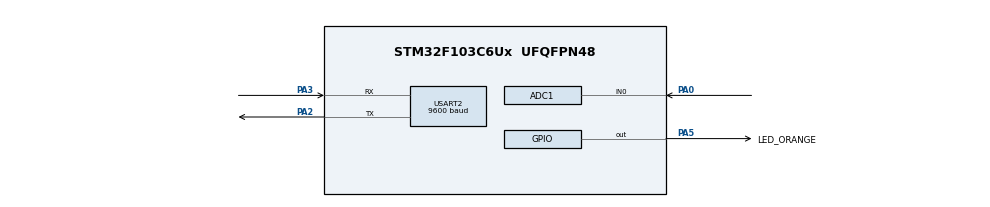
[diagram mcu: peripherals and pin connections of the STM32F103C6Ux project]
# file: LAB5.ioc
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ADC1.Channel-0\#ChannelRegularConversion=ADC_CHANNEL_0
ADC1.ContinuousConvMode=ENABLE
ADC1.NbrOfConversionFlag=1
ADC1.Rank-0\#ChannelRegularConversion=1
ADC1.SamplingTime-0\#ChannelRegularConversion=ADC_SAMPLETIME_1CYCLE_5
ADC1.master=1
Mcu.Family=STM32F1
Mcu.Name=STM32F103C6Ux
Mcu.Package=UFQFPN48
NVIC.PriorityGroup=NVIC_PRIORITYGROUP_4
NVIC.USART2_IRQn=true\:0\:0\:false\:false\:true\:true\:true
PA0-WKUP.Signal=ADCx_IN0
PA2.Mode=Asynchronous
PA2.Signal=USART2_TX
PA3.Mode=Asynchronous
PA3.Signal=USART2_RX
PA5.GPIO_Label=LED_ORANGE
PA5.Signal=GPIO_Output
ProjectManager.HeapSize=0x200
ProjectManager.StackSize=0x400
ProjectManager.TargetToolchain=STM32CubeIDE
RCC.APB1Freq_Value=8000000
RCC.APB2Freq_Value=8000000
SH.ADCx_IN0.0=ADC1_IN0,IN0
USART2.BaudRate=9600
USART2.VirtualMode=VM_ASYNC
VP_SYS_VS_ND.Mode=No_Debug
board=custom

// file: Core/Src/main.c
/* USER CODE BEGIN Header */
/**
  ******************************************************************************
  * @file           : main.c
  * @brief          : Main program body
  ******************************************************************************
  * @attention
  *
  * <h2><center>&copy; Copyright (c) 2025 STMicroelectronics.
  * All rights reserved.</center></h2>
  *
  * This software component is licensed by ST under BSD 3-Clause license,
  * the "License"; You may not use this file except in compliance with the
  * License. You may obtain a copy of the License at:
  *                        opensource.org/licenses/BSD-3-Clause
  *
  ******************************************************************************
  */
/* USER CODE END Header */
#include "main.h"

/* USER CODE BEGIN Includes */
#include "stdio.h"
#include "string.h"
#include "command_parser.h"
#include "uart.h"

/* USER CODE END Includes */

ADC_HandleTypeDef hadc1;

UART_HandleTypeDef huart2;

void SystemClock_Config(void);
static void MX_GPIO_Init(void);
static void MX_ADC1_Init(void);
static void MX_USART2_UART_Init(void);

/* USER CODE BEGIN 0 */
// uint8_t temp = 0;
void HAL_UART_RxCpltCallback(UART_HandleTypeDef *huart)
{
  if(huart->Instance == USART2){
    buffer[buf_write_idx++] = temp;
    if(buf_write_idx >= MAX_BUFFER_SIZE){
      buf_write_idx = 0;
    }
    buf_flag = 1;
    HAL_UART_Receive_IT(&huart2, &temp, 1);
  }
}
/* USER CODE END 0 */

int main(void)
{

  /* MCU Configuration--------------------------------------------------------*/

  /* Reset of all peripherals, Initializes the Flash interface and the Systick. */
  HAL_Init();

  /* Configure the system clock */
  SystemClock_Config();

  /* Initialize all configured peripherals */
  MX_GPIO_Init();
  MX_ADC1_Init();
  MX_USART2_UART_Init();
  /* USER CODE BEGIN 2 */
  command_parser_init();
  uart_init(&hadc1, &huart2);
  HAL_UART_Receive_IT(&huart2, &temp, 1);

  // uint32_t adc_value = 0;

  // HAL_ADC_Start(&hadc1);
  /* USER CODE END 2 */

  /* Infinite loop */
  while (1)
  {
    if(buf_flag == 1){
      command_parser_fsm();

      if(buf_read_idx == buf_write_idx){
        buf_flag = 0;
      }
    }
    /* USER CODE BEGIN 3 */
    uart_fsm();
  }

  /* USER CODE END 3 */
}

void SystemClock_Config(void)
{
  RCC_OscInitTypeDef RCC_OscInitStruct = {0};
  RCC_ClkInitTypeDef RCC_ClkInitStruct = {0};
  RCC_PeriphCLKInitTypeDef PeriphClkInit = {0};

  /** Initializes the RCC Oscillators according to the specified parameters
  * in the RCC_OscInitTypeDef structure.
  */
  RCC_OscInitStruct.OscillatorType = RCC_OSCILLATORTYPE_HSI;
  RCC_OscInitStruct.HSIState = RCC_HSI_ON;
  RCC_OscInitStruct.HSICalibrationValue = RCC_HSICALIBRATION_DEFAULT;
  RCC_OscInitStruct.PLL.PLLState = RCC_PLL_NONE;
  if (HAL_RCC_OscConfig(&RCC_OscInitStruct) != HAL_OK)
  {
    Error_Handler();
  }
  /** Initializes the CPU, AHB and APB buses clocks
  */
  RCC_ClkInitStruct.ClockType = RCC_CLOCKTYPE_HCLK|RCC_CLOCKTYPE_SYSCLK
                              |RCC_CLOCKTYPE_PCLK1|RCC_CLOCKTYPE_PCLK2;
  RCC_ClkInitStruct.SYSCLKSource = RCC_SYSCLKSOURCE_HSI;
  RCC_ClkInitStruct.AHBCLKDivider = RCC_SYSCLK_DIV1;
  RCC_ClkInitStruct.APB1CLKDivider = RCC_HCLK_DIV1;
  RCC_ClkInitStruct.APB2CLKDivider = RCC_HCLK_DIV1;

  if (HAL_RCC_ClockConfig(&RCC_ClkInitStruct, FLASH_LATENCY_0) != HAL_OK)
  {
    Error_Handler();
  }
  PeriphClkInit.PeriphClockSelection = RCC_PERIPHCLK_ADC;
  PeriphClkInit.AdcClockSelection = RCC_ADCPCLK2_DIV2;
  if (HAL_RCCEx_PeriphCLKConfig(&PeriphClkInit) != HAL_OK)
  {
    Error_Handler();
  }
}

static void MX_ADC1_Init(void)
{

  ADC_ChannelConfTypeDef sConfig = {0};

  /** Common config
  */
  hadc1.Instance = ADC1;
  hadc1.Init.ScanConvMode = ADC_SCAN_DISABLE;
  hadc1.Init.ContinuousConvMode = ENABLE;
  hadc1.Init.DiscontinuousConvMode = DISABLE;
  hadc1.Init.ExternalTrigConv = ADC_SOFTWARE_START;
  hadc1.Init.DataAlign = ADC_DATAALIGN_RIGHT;
  hadc1.Init.NbrOfConversion = 1;
  if (HAL_ADC_Init(&hadc1) != HAL_OK)
  {
    Error_Handler();
  }
  /** Configure Regular Channel
  */
  sConfig.Channel = ADC_CHANNEL_0;
  sConfig.Rank = ADC_REGULAR_RANK_1;
  sConfig.SamplingTime = ADC_SAMPLETIME_1CYCLE_5;
  if (HAL_ADC_ConfigChannel(&hadc1, &sConfig) != HAL_OK)
  {
    Error_Handler();
  }

}

static void MX_USART2_UART_Init(void)
{

  huart2.Instance = USART2;
  huart2.Init.BaudRate = 9600;
  huart2.Init.WordLength = UART_WORDLENGTH_8B;
  huart2.Init.StopBits = UART_STOPBITS_1;
  huart2.Init.Parity = UART_PARITY_NONE;
  huart2.Init.Mode = UART_MODE_TX_RX;
  huart2.Init.HwFlowCtl = UART_HWCONTROL_NONE;
  huart2.Init.OverSampling = UART_OVERSAMPLING_16;
  if (HAL_UART_Init(&huart2) != HAL_OK)
  {
    Error_Handler();
  }

}

static void MX_GPIO_Init(void)
{
  GPIO_InitTypeDef GPIO_InitStruct = {0};

  /* GPIO Ports Clock Enable */
  __HAL_RCC_GPIOA_CLK_ENABLE();

  /*Configure GPIO pin Output Level */
  HAL_GPIO_WritePin(LED_ORANGE_GPIO_Port, LED_ORANGE_Pin, GPIO_PIN_RESET);

  /*Configure GPIO pin : LED_ORANGE_Pin */
  GPIO_InitStruct.Pin = LED_ORANGE_Pin;
  GPIO_InitStruct.Mode = GPIO_MODE_OUTPUT_PP;
  GPIO_InitStruct.Pull = GPIO_NOPULL;
  GPIO_InitStruct.Speed = GPIO_SPEED_FREQ_LOW;
  HAL_GPIO_Init(LED_ORANGE_GPIO_Port, &GPIO_InitStruct);

}

void Error_Handler(void)
{
  __disable_irq();
  while (1)
  {
  }
}

/************************ (C) COPYRIGHT STMicroelectronics *****END OF FILE****/
